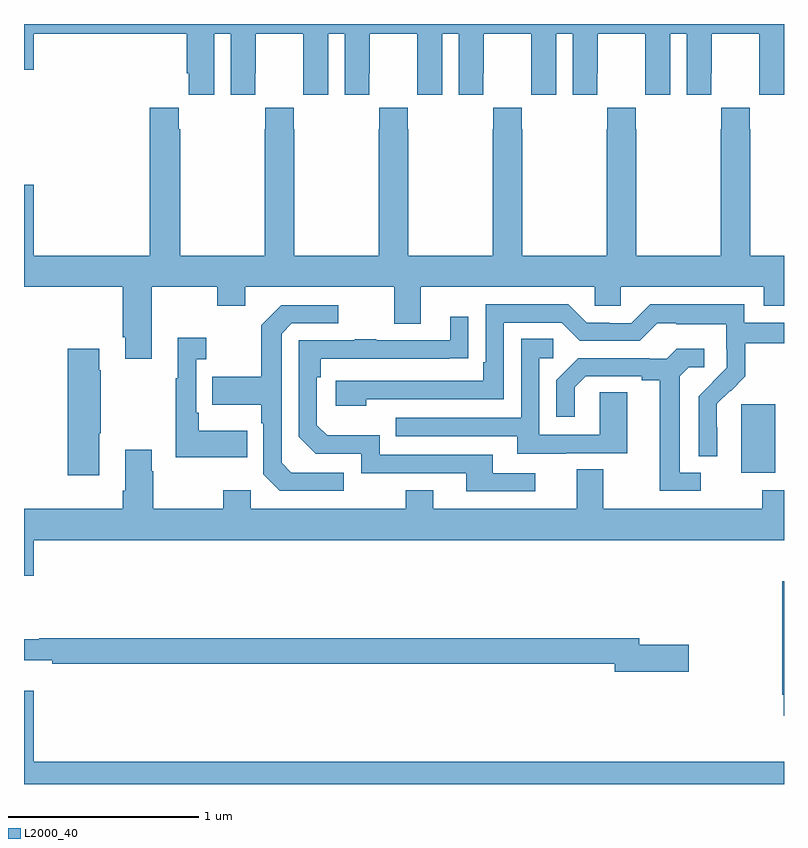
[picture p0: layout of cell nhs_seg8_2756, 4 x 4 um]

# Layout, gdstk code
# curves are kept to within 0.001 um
import gdstk
lib = gdstk.Library(unit=1e-6, precision=1e-09)
def R(c, l, rs):  # rectangles x0, y0, x1, y1
    for r in rs: c.add(gdstk.rectangle(r[:2], r[2:], *l))
def P(c, l, *ps):  # polygons
    for p in ps: c.add(gdstk.Polygon(p, *l))
L2000_40 = (2000, 40)

nhs_seg8_2756 = lib.new_cell('nhs_seg8_2756')
R(nhs_seg8_2756, L2000_40, [(288.776,1099.538,288.955,1099.899)])
P(nhs_seg8_2756, L2000_40, [(286,1101.848),(286.088,1101.848),(286.088,1101.528),(286.218,1101.528),(286.218,1101.64),(286.219,1101.64),(286.219,1101.848),(286.469,1101.848),(286.469,1101.64),(286.47,1101.64),(286.47,1101.528),(286.6,1101.528),(286.6,1101.848),(286.688,1101.848),(286.688,1101.528),(286.818,1101.528),(286.818,1101.64),(286.819,1101.64),(286.819,1101.848),(287.069,1101.848),(287.069,1101.64),(287.07,1101.64),(287.07,1101.528),(287.2,1101.528),(287.2,1101.848),(287.288,1101.848),(287.288,1101.528),(287.418,1101.528),(287.418,1101.64),(287.419,1101.64),(287.419,1101.848),(287.669,1101.848),(287.669,1101.64),(287.67,1101.64),(287.67,1101.528),(287.8,1101.528),(287.8,1101.848),(287.888,1101.848),(287.888,1101.528),(288.018,1101.528),(288.018,1101.64),(288.019,1101.64),(288.019,1101.848),(288.269,1101.848),(288.269,1101.64),(288.27,1101.64),(288.27,1101.528),(288.4,1101.528),(288.4,1101.848),(288.488,1101.848),(288.488,1101.528),(288.618,1101.528),(288.618,1101.64),(288.619,1101.64),(288.619,1101.848),(288.869,1101.848),(288.869,1101.64),(288.87,1101.64),(288.87,1101.528),(289,1101.528),(289,1101.9),(285,1101.9),(285,1101.66),(285.052,1101.66),(285.052,1101.848),(285.857,1101.848),(285.857,1101.64),(285.866,1101.64),(285.866,1101.528),(286,1101.528)],
  [(285.662,1100.68),(285.052,1100.68),(285.052,1101.055),(285,1101.055),(285,1100.516),(285.521,1100.516),(285.521,1100.251),(285.533,1100.251),(285.533,1100.139),(285.673,1100.139),(285.673,1100.516),(286.018,1100.516),(286.018,1100.417),(286.165,1100.417),(286.165,1100.516),(286.949,1100.516),(286.949,1100.322),(287.089,1100.322),(287.089,1100.516),(288.003,1100.516),(288.003,1100.418),(288.141,1100.418),(288.141,1100.516),(288.893,1100.516),(288.893,1100.417),(289,1100.417),(289,1100.68),(288.822,1100.68),(288.822,1101.347),(288.819,1101.347),(288.819,1101.46),(288.669,1101.46),(288.669,1101.347),(288.667,1101.347),(288.667,1100.68),(288.222,1100.68),(288.222,1101.347),(288.219,1101.347),(288.219,1101.46),(288.069,1101.46),(288.069,1101.347),(288.067,1101.347),(288.067,1100.68),(287.622,1100.68),(287.622,1101.347),(287.619,1101.347),(287.619,1101.46),(287.469,1101.46),(287.469,1101.347),(287.467,1101.347),(287.467,1100.68),(287.022,1100.68),(287.022,1101.347),(287.019,1101.347),(287.019,1101.46),(286.869,1101.46),(286.869,1101.347),(286.867,1101.347),(286.867,1100.68),(286.422,1100.68),(286.422,1101.347),(286.419,1101.347),(286.419,1101.46),(286.269,1101.46),(286.269,1101.347),(286.267,1101.347),(286.267,1100.68),(285.822,1100.68),(285.822,1101.347),(285.815,1101.347),(285.815,1101.46),(285.662,1101.46)],
  [(288.648,1099.778),(288.647,1099.901),(288.717,1099.971),(288.72,1099.968),(288.797,1100.045),(288.797,1100.22),(289,1100.22),(289,1100.328),(288.792,1100.328),(288.792,1100.425),(288.295,1100.425),(288.195,1100.325),(288.08,1100.325),(288.08,1100.328),(287.961,1100.328),(287.865,1100.424),(287.43,1100.424),(287.43,1100.119),(287.417,1100.119),(287.417,1100.022),(286.641,1100.022),(286.641,1099.892),(286.802,1099.892),(286.802,1099.926),(287.526,1099.926),(287.526,1100.328),(287.829,1100.328),(287.925,1100.232),(288.24,1100.232),(288.333,1100.325),(288.433,1100.325),(288.433,1100.321),(288.696,1100.321),(288.696,1100.187),(288.698,1100.187),(288.698,1100.09),(288.552,1099.942),(288.552,1099.624),(288.648,1099.624)],
  [(286.684,1099.539),(286.407,1099.539),(286.356,1099.59),(286.356,1100.271),(286.41,1100.325),(286.654,1100.325),(286.654,1100.421),(286.353,1100.421),(286.248,1100.315),(286.248,1100.043),(285.991,1100.043),(285.991,1099.895),(286.248,1099.895),(286.248,1099.799),(286.26,1099.799),(286.26,1099.53),(286.347,1099.443),(286.684,1099.443)],
  [(287.692,1099.536),(287.467,1099.536),(287.467,1099.632),(286.872,1099.632),(286.872,1099.735),(286.595,1099.735),(286.542,1099.788),(286.542,1100.042),(286.562,1100.042),(286.562,1100.139),(287.339,1100.14),(287.339,1100.359),(287.243,1100.359),(287.243,1100.235),(286.853,1100.235),(286.853,1100.24),(286.741,1100.24),(286.741,1100.235),(286.446,1100.235),(286.446,1099.728),(286.536,1099.638),(286.776,1099.638),(286.776,1099.536),(287.327,1099.536),(287.327,1099.44),(287.692,1099.44)],
  [(286.175,1099.759),(285.919,1099.759),(285.919,1099.855),(285.906,1099.855),(285.906,1100.135),(285.958,1100.135),(285.958,1100.248),(285.809,1100.248),(285.809,1100.035),(285.798,1100.035),(285.798,1099.619),(286.175,1099.619)],
  [(287.851,1099.641),(288.175,1099.641),(288.175,1099.961),(288.03,1099.961),(288.03,1099.737),(287.712,1099.737),(287.712,1100.142),(287.785,1100.142),(287.785,1100.243),(287.616,1100.243),(287.616,1099.827),(286.957,1099.827),(286.957,1099.731),(287.597,1099.731),(287.597,1099.637),(287.851,1099.637)],
  [(285.397,1099.747),(285.405,1099.747),(285.405,1100.078),(285.397,1100.078),(285.397,1100.191),(285.23,1100.191),(285.23,1099.524),(285.397,1099.524)],
  [(288.562,1099.539),(288.451,1099.539),(288.451,1100.047),(288.498,1100.094),(288.58,1100.094),(288.58,1100.191),(288.436,1100.191),(288.384,1100.139),(288.29,1100.139),(288.29,1100.142),(287.918,1100.142),(287.802,1100.026),(287.802,1099.833),(287.899,1099.833),(287.899,1099.989),(287.956,1100.046),(288.251,1100.046),(288.251,1100.024),(288.347,1100.024),(288.347,1099.443),(288.562,1099.443)],
  [(285.052,1099.184),(289,1099.184),(289,1099.447),(288.886,1099.447),(288.886,1099.348),(288.049,1099.348),(288.049,1099.556),(287.909,1099.556),(287.909,1099.348),(287.155,1099.348),(287.155,1099.447),(287.008,1099.447),(287.008,1099.348),(286.194,1099.348),(286.194,1099.447),(286.048,1099.447),(286.048,1099.348),(285.681,1099.348),(285.681,1099.547),(285.673,1099.547),(285.673,1099.66),(285.533,1099.66),(285.533,1099.444),(285.521,1099.444),(285.521,1099.348),(285,1099.348),(285,1098.996),(285.052,1098.996)],
  [(289,1098.968),(288.991,1098.968),(288.991,1098.37),(288.999,1098.37),(288.999,1098.258),(289,1098.258)],
  [(288.499,1098.632),(288.238,1098.632),(288.238,1098.668),(285.08,1098.668),(285.08,1098.661),(285,1098.661),(285,1098.551),(285.148,1098.551),(285.148,1098.532),(288.11,1098.532),(288.11,1098.49),(288.499,1098.49)],
  [(285.052,1098.391),(285,1098.391),(285,1097.9),(289,1097.9),(289,1098.016),(285.052,1098.016)])

lib.write_gds('nhs_seg8_2756.gds')
